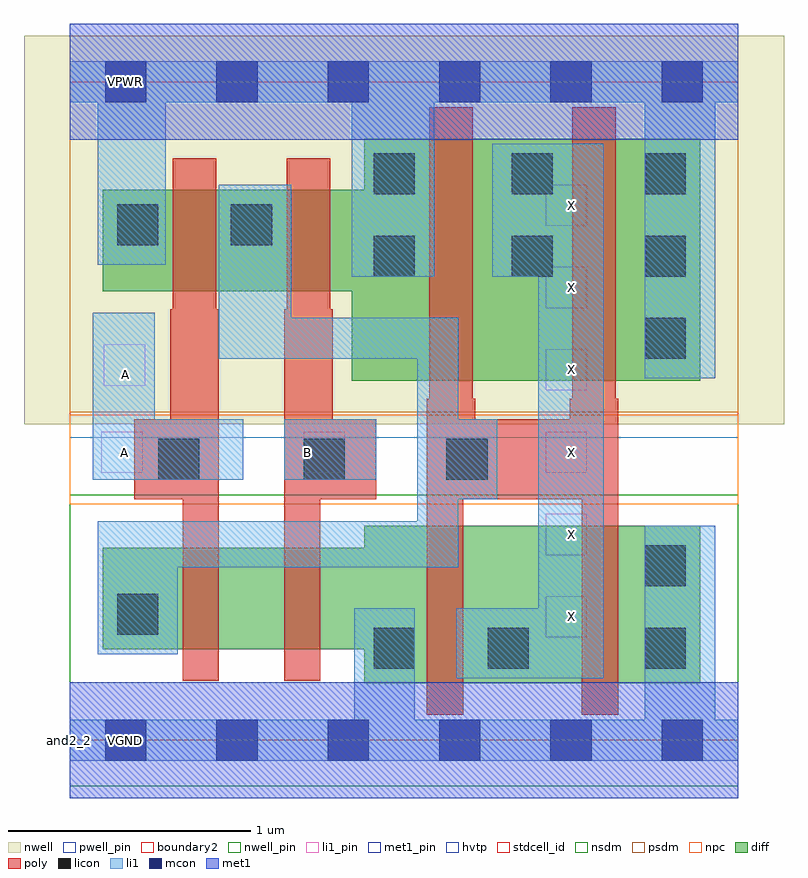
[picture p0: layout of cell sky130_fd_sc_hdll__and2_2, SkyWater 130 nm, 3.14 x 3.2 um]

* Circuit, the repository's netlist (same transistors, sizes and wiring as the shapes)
* Copyright 2020 The SkyWater PDK Authors
*
* Licensed under the Apache License, Version 2.0 (the "License");
* you may not use this file except in compliance with the License.
* You may obtain a copy of the License at
*
*     https://www.apache.org/licenses/LICENSE-2.0
*
* Unless required by applicable law or agreed to in writing, software
* distributed under the License is distributed on an "AS IS" BASIS,
* WITHOUT WARRANTIES OR CONDITIONS OF ANY KIND, either express or implied.
* See the License for the specific language governing permissions and
* limitations under the License.
*
* SPDX-License-Identifier: Apache-2.0

.SUBCKT sky130_fd_sc_hdll__and2_2 A B VGND VNB VPB VPWR X
*.PININFO A:I B:I VGND:I VNB:I VPB:I VPWR:I X:O
MMP0 y A VPWR VPB sky130_fd_pr__pfet_01v8_hvt m=1 w=0.42U l=0.18U mult=1 sa=0.265
+ sb=0.265 sd=0.28 area=0.063 perim=1.14
MMP1 y B VPWR VPB sky130_fd_pr__pfet_01v8_hvt m=1 w=0.42U l=0.18U mult=1 sa=0.265
+ sb=0.265 sd=0.28 area=0.063 perim=1.14
MMIP0 X y VPWR VPB sky130_fd_pr__pfet_01v8_hvt m=2 w=1.0U l=0.18U mult=1 sa=0.265
+ sb=0.265 sd=0.28 area=0.063 perim=1.14
MMN0 y A sndA VNB sky130_fd_pr__nfet_01v8 m=1 w=0.42U l=0.15U mult=1 sa=0.265 sb=0.265
+ sd=0.28 area=0.063 perim=1.14
MMN1 sndA B VGND VNB sky130_fd_pr__nfet_01v8 m=1 w=0.42U l=0.15U mult=1 sa=0.265
+ sb=0.265 sd=0.28 area=0.063 perim=1.14
MMIN0 X y VGND VNB sky130_fd_pr__nfet_01v8 m=2 w=0.65U l=0.15U mult=1 sa=0.265
+ sb=0.265 sd=0.28 area=0.063 perim=1.14
.ENDS sky130_fd_sc_hdll__and2_2

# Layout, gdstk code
import gdstk
lib = gdstk.Library(unit=1e-6, precision=1e-09)
def R(c, l, rs):  # rectangles x0, y0, x1, y1
    for r in rs: c.add(gdstk.rectangle(r[:2], r[2:], *l))
def A(c, l, x, y, w, h, nx, ny, dx, dy):  # array of equal rectangles
    R(c, l, [(x+i*dx, y+j*dy, x+i*dx+w, y+j*dy+h) for i in range(nx) for j in range(ny)])
def P(c, l, *ps):  # polygons
    for p in ps: c.add(gdstk.Polygon(p, *l))
nwell_pin = (64, 16)
nwell = (64, 20)
diff = (65, 20)
poly = (66, 20)
licon = (66, 44)
li1_pin = (67, 16)
li1 = (67, 20)
mcon = (67, 44)
met1_pin = (68, 16)
met1 = (68, 20)
hvtp = (78, 44)
stdcell_id = (81, 4)
nsdm = (93, 44)
psdm = (94, 20)
npc = (95, 20)
pwell_pin = (122, 16)
boundary2 = (236, 0)

sky130_fd_sc_hdll__and2_ = lib.new_cell('sky130_fd_sc_hdll__and2_2')
R(sky130_fd_sc_hdll__and2_, nwell_pin, [(0.145,2.635,0.315,2.805)])
R(sky130_fd_sc_hdll__and2_, nwell, [(-0.19,1.305,2.95,2.91)])
P(sky130_fd_sc_hdll__and2_, diff, [(2.605,2.485),(1.215,2.485),(1.215,2.275),(0.135,2.275),(0.135,1.855),(1.165,1.855),(1.165,1.485),(2.605,1.485)],
  [(2.605,0.885),(1.215,0.885),(1.215,0.795),(0.135,0.795),(0.135,0.375),(1.215,0.375),(1.215,0.235),(2.605,0.235)])
P(sky130_fd_sc_hdll__and2_, poly, [(0.615,1.78),(0.605,1.78),(0.605,2.405),(0.425,2.405),(0.425,1.78),(0.415,1.78),(0.415,1.325),(0.265,1.325),(0.265,0.995),(0.465,0.995),(0.465,0.245),(0.615,0.245)],
  [(1.265,1.325),(1.085,1.325),(1.085,1.78),(1.075,1.78),(1.075,2.405),(0.895,2.405),(0.895,1.78),(0.885,1.78),(0.885,0.245),(1.035,0.245),(1.035,0.995),(1.265,0.995)],
  [(2.265,1.41),(2.255,1.41),(2.255,2.615),(2.075,2.615),(2.075,1.41),(2.065,1.41),(2.065,1.325),(1.675,1.325),(1.675,1.41),(1.665,1.41),(1.665,2.615),(1.485,2.615),(1.485,1.41),(1.475,1.41),(1.475,0.105),(1.625,0.105),(1.625,0.995),(2.115,0.995),(2.115,0.105),(2.265,0.105)])
A(sky130_fd_sc_hdll__and2_, licon, 2.375, 1.575, 0.17, 0.17, 1, 3, 0, 0.34)
R(sky130_fd_sc_hdll__and2_, licon, [(1.255,0.295,1.425,0.465), (1.725,0.295,1.895,0.465), (2.375,0.295,2.545,0.465), (0.195,0.435,0.365,0.605), (2.375,0.635,2.545,0.805), (0.365,1.075,0.535,1.245), (0.965,1.075,1.135,1.245), (1.555,1.075,1.725,1.245), (1.255,1.915,1.425,2.085), (1.825,1.915,1.995,2.085), (0.195,2.045,0.365,2.215), (0.665,2.045,0.835,2.215), (1.255,2.255,1.425,2.425), (1.825,2.255,1.995,2.425)])
A(sky130_fd_sc_hdll__and2_, li1_pin, 1.965, 0.425, 0.17, 0.17, 1, 6, 0, 0.34)
R(sky130_fd_sc_hdll__and2_, li1_pin, [(0.13,1.105,0.3,1.275), (0.965,1.105,1.135,1.275), (0.14,1.465,0.31,1.635)])
R(sky130_fd_sc_hdll__and2_, li1, [(0.885,1.075,1.265,1.325)])
P(sky130_fd_sc_hdll__and2_, li1, [(0.715,1.325),(0.35,1.325),(0.35,1.765),(0.095,1.765),(0.095,1.075),(0.715,1.075)],
  [(1.765,1.325),(1.605,1.325),(1.605,1.745),(0.915,1.745),(0.915,2.295),(0.615,2.295),(0.615,1.575),(1.435,1.575),(1.435,0.905),(0.115,0.905),(0.115,0.355),(0.445,0.355),(0.445,0.715),(1.605,0.715),(1.605,0.995),(1.765,0.995)],
  [(2.76,0.085),(2.665,0.085),(2.665,0.885),(2.375,0.885),(2.375,0.085),(1.425,0.085),(1.425,0.545),(1.175,0.545),(1.175,0.085),(0,0.085),(0,-0.085),(2.76,-0.085)],
  [(2.205,2.465),(1.745,2.465),(1.745,1.915),(1.935,1.915),(1.935,0.545),(1.595,0.545),(1.595,0.255),(2.205,0.255)],
  [(2.76,2.805),(0,2.805),(0,2.635),(0.115,2.635),(0.115,1.965),(0.395,1.965),(0.395,2.635),(1.165,2.635),(1.165,1.915),(1.505,1.915),(1.505,2.635),(2.375,2.635),(2.375,1.495),(2.665,1.495),(2.665,2.635),(2.76,2.635)])
A(sky130_fd_sc_hdll__and2_, mcon, 0.145, -0.085, 0.17, 0.17, 6, 2, 0.46, 2.72)
R(sky130_fd_sc_hdll__and2_, met1_pin, [(0.145,-0.085,0.315,0.085), (0.145,2.635,0.315,2.805)])
R(sky130_fd_sc_hdll__and2_, met1, [(0,-0.24,2.76,0.24), (0,2.48,2.76,2.96)])
R(sky130_fd_sc_hdll__and2_, hvtp, [(0,1.25,2.76,2.72)])
R(sky130_fd_sc_hdll__and2_, stdcell_id, [(0,0,2.76,2.72)])
R(sky130_fd_sc_hdll__and2_, nsdm, [(0,-0.19,2.76,1.015)])
R(sky130_fd_sc_hdll__and2_, psdm, [(0,1.355,2.76,2.91)])
R(sky130_fd_sc_hdll__and2_, npc, [(0,0.975,2.76,1.345)])
R(sky130_fd_sc_hdll__and2_, pwell_pin, [(0.145,-0.085,0.315,0.085)])
R(sky130_fd_sc_hdll__and2_, boundary2, [(0,0,2.76,2.72)])
sky130_fd_sc_hdll__and2_.add(gdstk.Label('VPWR', (0.23,2.72), layer=68, texttype=5))
sky130_fd_sc_hdll__and2_.add(gdstk.Label('VGND', (0.23,0), layer=68, texttype=5))
sky130_fd_sc_hdll__and2_.add(gdstk.Label('A', (0.23,1.51), layer=67, texttype=5))
sky130_fd_sc_hdll__and2_.add(gdstk.Label('X', (2.07,0.85), layer=67, texttype=5))
sky130_fd_sc_hdll__and2_.add(gdstk.Label('A', (0.225,1.19), layer=67, texttype=5))
sky130_fd_sc_hdll__and2_.add(gdstk.Label('X', (2.07,0.51), layer=67, texttype=5))
sky130_fd_sc_hdll__and2_.add(gdstk.Label('X', (2.07,1.19), layer=67, texttype=5))
sky130_fd_sc_hdll__and2_.add(gdstk.Label('X', (2.07,1.53), layer=67, texttype=5))
sky130_fd_sc_hdll__and2_.add(gdstk.Label('X', (2.07,1.87), layer=67, texttype=5))
sky130_fd_sc_hdll__and2_.add(gdstk.Label('X', (2.07,2.21), layer=67, texttype=5))
sky130_fd_sc_hdll__and2_.add(gdstk.Label('B', (0.98,1.19), layer=67, texttype=5))
sky130_fd_sc_hdll__and2_.add(gdstk.Label('VPB', (0.23,2.72), layer=64, texttype=5))
sky130_fd_sc_hdll__and2_.add(gdstk.Label('VNB', (0.23,0), layer=64, texttype=59))
sky130_fd_sc_hdll__and2_.add(gdstk.Label('and2_2', (0,0), layer=83, texttype=44))

lib.write_gds('sky130_fd_sc_hdll__and2_2.gds')
